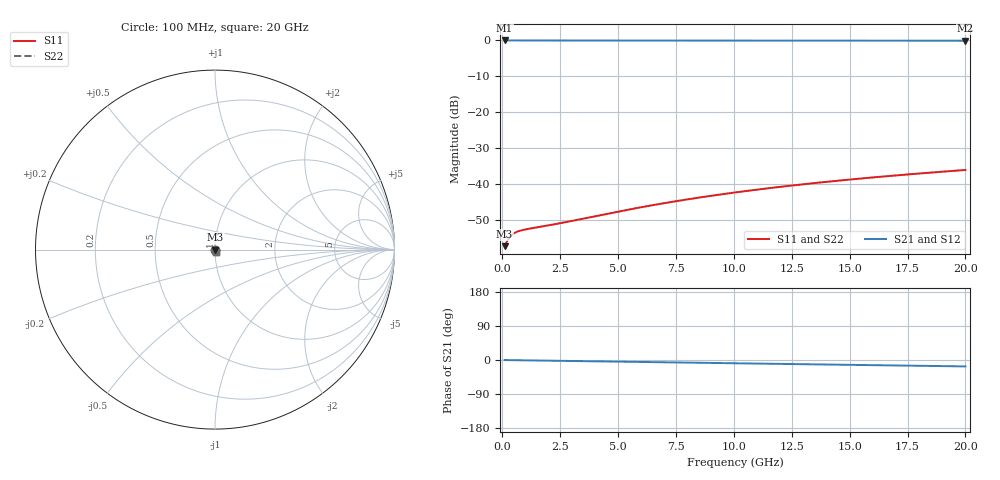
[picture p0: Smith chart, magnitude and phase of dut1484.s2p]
! Touchstone file exported from HFSS 2026.1.0
!  File:  C:/ffzhzh/LocalFiles/Ansys_Project_Files/temp_train_BSMRDL_1484_1783181387_18472.aedt
!  Generated:  12:10:54 AM Jul  5, 2026
!  Design:  BSMRDL
!  Project:  temp_train_BSMRDL_1484_1783181387_18472
! Variables:
!  h_bsmrdl = 3.91um
!  h_ox = 20um
!  h_rdl = 5um
!  h_sub = 80um
!  h_tmrdl = 5um
!  h_tsv = 80um
!  h_via = 3um
!  l_bsmrdl = 293.96um
!  l_sub = 693.96um
!  l_tmrdl = 200um
!  m_sub = 200um
!  pitch = 28.31um
!  r_tsv = 6um
!  s_tmrdl = 10um
!  w_bsmrdl = 24.47um
!  w_sub = 500um
!  w_tmrdl = 12um
!  x_tsv_center1 = 206um
!  x_tsv_center2 = 524.43um
!  x_tsv_center3 = 736.43um
!  x_tsv_center4 = 1054.86um
!  x_tsv_center5 = 1266.86um
!  x_tsv_center6 = 1585.29um
# GHz S MA R 50.000000
! Terminal data exported
! Port[1] = BSM_RDL1_1_T1
! Port[2] = BSM_RDL1_1_T2
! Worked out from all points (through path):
!   200 points, 100 MHz to 20 GHz, reference 50 ohm
!   highest |S21| = -0.01 dB at 100 MHz (marker M1); lowest = -0.1 dB at 20 GHz (marker M2)
!   group delay of S21, straight-line fit = 2.34 ps
!   lowest |S11| = -57.2 dB at 100 MHz (marker M3), VSWR 1.00, Z = 50.1 + j0.0282 ohm
!   |S11| at or under -10 dB: start of sweep to end of sweep
!   |S22| runs from -57.2 to -36.0 dB; largest |S21 - S12| = 3e-15
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0.1  0.001379 11.8  0.9987 -0.1  0.9987 -0.1  0.001379 11.8
! Gamma 0 0 0 0
! Port Impedance 50 0 50 0
0.2  0.001601 16.8  0.9985 -0.2  0.9985 -0.2  0.001601 16.8
0.3  0.001809 17.2  0.9983 -0.3  0.9983 -0.3  0.001809 17.2
0.4  0.001967 15.9  0.9981 -0.4  0.9981 -0.4  0.001967 15.9
0.5  0.00208 14.2  0.998 -0.5  0.998 -0.5  0.00208 14.2
0.6  0.002163 12.6  0.9979 -0.6  0.9979 -0.6  0.002163 12.6
0.7  0.002226 11.2  0.9978 -0.6  0.9978 -0.6  0.002226 11.2
0.9  0.002319 8.8  0.9977 -0.8  0.9977 -0.8  0.002319 8.8
1.1  0.00239 7.0  0.9976 -1.0  0.9976 -1.0  0.002391 7.0
2.3  0.002796 -0.1  0.9972 -2.0  0.9972 -2.0  0.002797 -0.1
3.5  0.003332 -6.6  0.9967 -3.1  0.9967 -3.1  0.003334 -6.6
5.3  0.00435 -17.1  0.9957 -4.6  0.9957 -4.6  0.004355 -17.1
6.8  0.005331 -25.6  0.995 -5.9  0.995 -5.9  0.005338 -25.6
7.6  0.005888 -29.8  0.9946 -6.6  0.9946 -6.6  0.005897 -29.8
8.4  0.006463 -33.7  0.9942 -7.3  0.9942 -7.3  0.006474 -33.7
10.1  0.007732 -41.3  0.9934 -8.7  0.9934 -8.7  0.007747 -41.2
11.7  0.008972 -47.4  0.9928 -10.0  0.9928 -10.0  0.00899 -47.3
13.4  0.01033 -53.1  0.9922 -11.4  0.9922 -11.4  0.01035 -53.0
15  0.01163 -57.8  0.9916 -12.8  0.9916 -12.8  0.01165 -57.6
16.7  0.01303 -62.2  0.9911 -14.2  0.9911 -14.2  0.01306 -62.1
18.3  0.01437 -65.9  0.9906 -15.5  0.9906 -15.5  0.0144 -65.8
20  0.0158 -69.6  0.9901 -16.9  0.9901 -16.9  0.01584 -69.4
